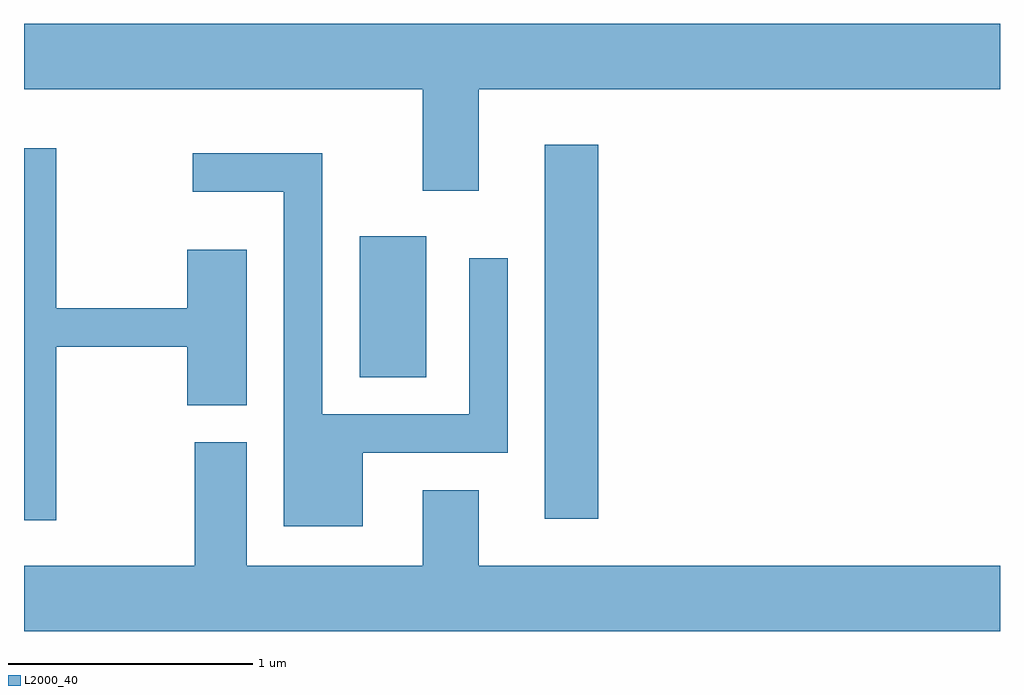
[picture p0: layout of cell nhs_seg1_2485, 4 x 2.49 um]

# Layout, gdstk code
import gdstk
lib = gdstk.Library(unit=1e-6, precision=1e-09)
def R(c, l, rs):  # rectangles x0, y0, x1, y1
    for r in rs: c.add(gdstk.rectangle(r[:2], r[2:], *l))
def P(c, l, *ps):  # polygons
    for p in ps: c.add(gdstk.Polygon(p, *l))
L2000_40 = (2000, 40)

nhs_seg1_2485 = lib.new_cell('nhs_seg1_2485')
R(nhs_seg1_2485, L2000_40, [(263.746,853.416,263.964,854.949), (262.986,853.996,263.259,854.574)])
P(nhs_seg1_2485, L2000_40, [(263.474,855.176),(265.611,855.176),(265.611,855.444),(261.611,855.444),(261.611,855.176),(263.246,855.176),(263.246,854.761),(263.474,854.761)],
  [(261.744,854.121),(262.281,854.121),(262.281,853.881),(262.524,853.881),(262.524,854.519),(262.281,854.519),(262.281,854.279),(261.744,854.279),(261.744,854.934),(261.611,854.934),(261.611,853.411),(261.744,853.411)],
  [(262.999,853.686),(263.594,853.686),(263.594,854.483),(263.436,854.483),(263.436,853.844),(262.834,853.844),(262.834,854.914),(262.303,854.914),(262.303,854.756),(262.676,854.756),(262.676,853.386),(262.999,853.386)],
  [(265.611,853.224),(263.474,853.224),(263.474,853.534),(263.246,853.534),(263.246,853.224),(262.524,853.224),(262.524,853.729),(262.311,853.729),(262.311,853.224),(261.611,853.224),(261.611,852.956),(265.611,852.956)])

lib.write_gds('nhs_seg1_2485.gds')
